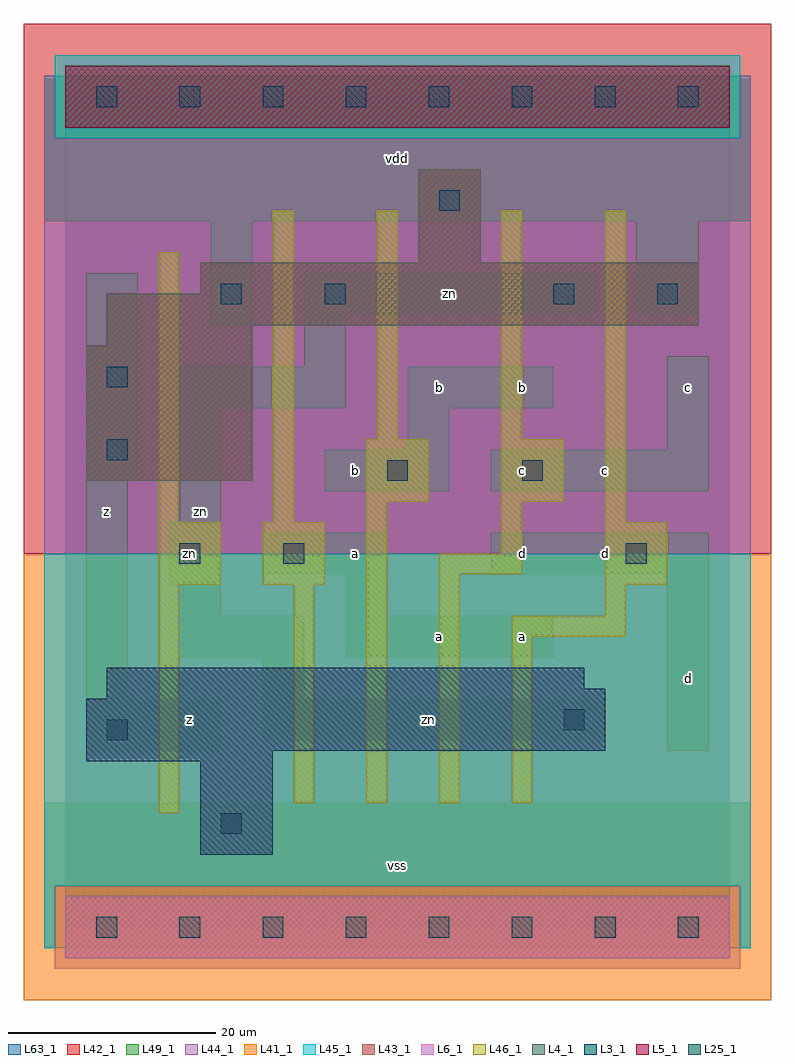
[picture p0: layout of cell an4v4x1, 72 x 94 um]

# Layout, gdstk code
import gdstk
lib = gdstk.Library(unit=1e-6, precision=1e-09)
def R(c, l, rs):  # rectangles x0, y0, x1, y1
    for r in rs: c.add(gdstk.rectangle(r[:2], r[2:], *l))
def A(c, l, x, y, w, h, nx, ny, dx, dy):  # array of equal rectangles
    R(c, l, [(x+i*dx, y+j*dy, x+i*dx+w, y+j*dy+h) for i in range(nx) for j in range(ny)])
L3_1 = (3, 1)
L4_1 = (4, 1)
L5_1 = (5, 1)
L6_1 = (6, 1)
L25_1 = (25, 1)
L41_1 = (41, 1)
L42_1 = (42, 1)
L43_1 = (43, 1)
L44_1 = (44, 1)
L45_1 = (45, 1)
L46_1 = (46, 1)
L49_1 = (49, 1)
L63_1 = (63, 1)

an4v4x1 = lib.new_cell('an4v4x1')
R(an4v4x1, L3_1, [(13,7,20,16), (2,16,20,17), (2,17,52,22), (4,22,52,23), (4,23,50,25)])
R(an4v4x1, L4_1, [(2,43,18,56), (4,56,18,58), (4,58,61,61), (13,61,61,64), (34,64,40,73)])
R(an4v4x1, L5_1, [(0,77,64,83)])
R(an4v4x1, L6_1, [(0,-3,64,3), (0,-3,64,3)])
A(an4v4x1, L25_1, 3, -1, 2, 2, 8, 2, 8, 80)
R(an4v4x1, L25_1, [(15,9,17,11), (4,18,6,20), (48,19,50,21), (11,35,13,37), (21,35,23,37), (54,35,56,37), (31,43,33,45), (44,43,46,45), (4,45,6,47), (4,52,6,54), (15,60,17,62), (25,60,27,62), (47,60,49,62), (57,60,59,62), (36,69,38,71)])
R(an4v4x1, L41_1, [(-4,-7,68,36)])
R(an4v4x1, L42_1, [(-4,36,68,87)])
R(an4v4x1, L43_1, [(0,-3,64,3), (13,7,20,16), (2,16,20,17), (2,17,52,22), (4,22,52,23), (4,23,50,25), (2,43,18,56), (4,56,18,58), (4,58,61,61), (13,61,61,64), (34,64,40,73), (0,77,64,83)])
R(an4v4x1, L44_1, [(-1,-4,65,4), (-2,36,66,76), (-2,76,-1,82), (65,76,66,82)])
R(an4v4x1, L45_1, [(-2,-2,-1,4), (65,-2,66,4), (-2,4,66,36), (-1,76,65,84)])
R(an4v4x1, L46_1, [(9,11,11,33), (22,12,24,33), (29,12,31,41), (36,12,38,34), (43,12,45,28), (43,28,54,30), (52,30,54,33), (9,33,15,39), (19,33,25,39), (52,33,58,39), (36,34,44,36), (42,36,44,41), (9,39,11,65), (20,39,22,69), (52,39,54,69), (29,41,35,47), (42,41,48,47), (30,47,32,69), (42,47,44,69)])
R(an4v4x1, L49_1, [(-2,-2,66,12), (2,17,15,22), (58,17,62,34), (19,18,52,22), (2,22,6,43), (19,22,23,26), (11,26,23,30), (27,26,47,30), (11,30,15,33), (27,30,31,34), (10,33,15,39), (19,34,31,38), (41,34,62,38), (11,39,15,50), (25,42,37,46), (41,42,62,46), (2,43,7,63), (33,46,37,50), (58,46,62,55), (11,50,27,54), (33,50,47,54), (23,54,27,59), (14,58,18,68), (23,59,51,63), (55,59,61,68), (-2,68,66,82)])
R(an4v4x1, L63_1, [(0,0,64,80)])
an4v4x1.add(gdstk.Label('zn', (12,36), layer=49, texttype=1))
an4v4x1.add(gdstk.Label('z', (4,40), layer=49, texttype=1))
an4v4x1.add(gdstk.Label('z', (12,20), layer=49, texttype=1))
an4v4x1.add(gdstk.Label('zn', (13,40), layer=49, texttype=1))
an4v4x1.add(gdstk.Label('vss', (32,6), layer=49, texttype=1))
an4v4x1.add(gdstk.Label('a', (36,28), layer=49, texttype=1))
an4v4x1.add(gdstk.Label('a', (28,36), layer=49, texttype=1))
an4v4x1.add(gdstk.Label('b', (28,44), layer=49, texttype=1))
an4v4x1.add(gdstk.Label('b', (36,52), layer=49, texttype=1))
an4v4x1.add(gdstk.Label('vdd', (32,74), layer=49, texttype=1))
an4v4x1.add(gdstk.Label('zn', (35,20), layer=49, texttype=1))
an4v4x1.add(gdstk.Label('a', (44,28), layer=49, texttype=1))
an4v4x1.add(gdstk.Label('d', (44,36), layer=49, texttype=1))
an4v4x1.add(gdstk.Label('c', (44,44), layer=49, texttype=1))
an4v4x1.add(gdstk.Label('b', (44,52), layer=49, texttype=1))
an4v4x1.add(gdstk.Label('zn', (37,61), layer=49, texttype=1))
an4v4x1.add(gdstk.Label('d', (60,24), layer=49, texttype=1))
an4v4x1.add(gdstk.Label('d', (52,36), layer=49, texttype=1))
an4v4x1.add(gdstk.Label('c', (52,44), layer=49, texttype=1))
an4v4x1.add(gdstk.Label('c', (60,52), layer=49, texttype=1))

lib.write_gds('an4v4x1.gds')
